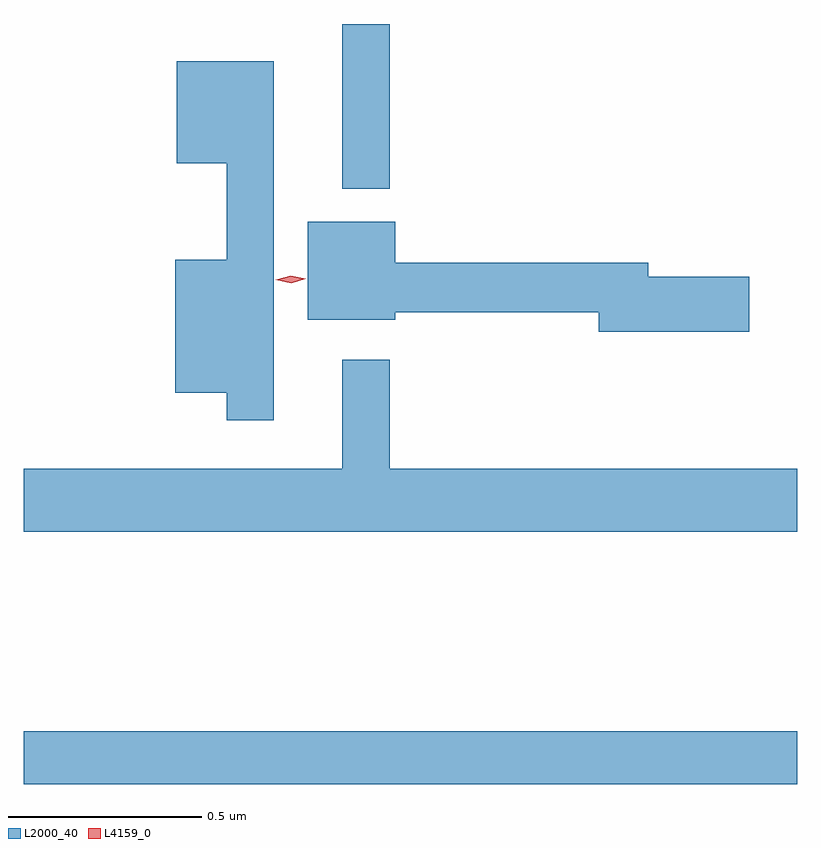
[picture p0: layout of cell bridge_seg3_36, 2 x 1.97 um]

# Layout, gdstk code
import gdstk
lib = gdstk.Library(unit=1e-6, precision=1e-09)
def R(c, l, rs):  # rectangles x0, y0, x1, y1
    for r in rs: c.add(gdstk.rectangle(r[:2], r[2:], *l))
def P(c, l, *ps):  # polygons
    for p in ps: c.add(gdstk.Polygon(p, *l))
L2000_40 = (2000, 40)
L4159_0 = (4159, 0)

bridge_seg3_36 = lib.new_cell('bridge_seg3_36')
R(bridge_seg3_36, L2000_40, [(780.129,690.94,782.129,691.076), (780.953,692.48,781.075,692.906)])
P(bridge_seg3_36, L2000_40, [(780.775,692.809),(780.524,692.809),(780.524,692.546),(780.654,692.546),(780.654,692.296),(780.521,692.296),(780.521,691.952),(780.654,691.952),(780.654,691.881),(780.775,691.881)],
  [(782.005,692.252),(781.744,692.252),(781.744,692.288),(781.09,692.288),(781.09,692.395),(780.863,692.395),(780.863,692.141),(781.09,692.141),(781.09,692.16),(781.616,692.16),(781.616,692.11),(782.005,692.11)],
  [(782.129,691.756),(781.075,691.756),(781.075,692.038),(780.953,692.038),(780.953,691.756),(780.129,691.756),(780.129,691.592),(782.129,691.592)])
P(bridge_seg3_36, L4159_0, [(780.82,692.235),(780.781,692.244),(780.78,692.244),(780.781,692.244),(780.819,692.255),(780.858,692.247),(780.858,692.247),(780.858,692.247)])

lib.write_gds('bridge_seg3_36.gds')
